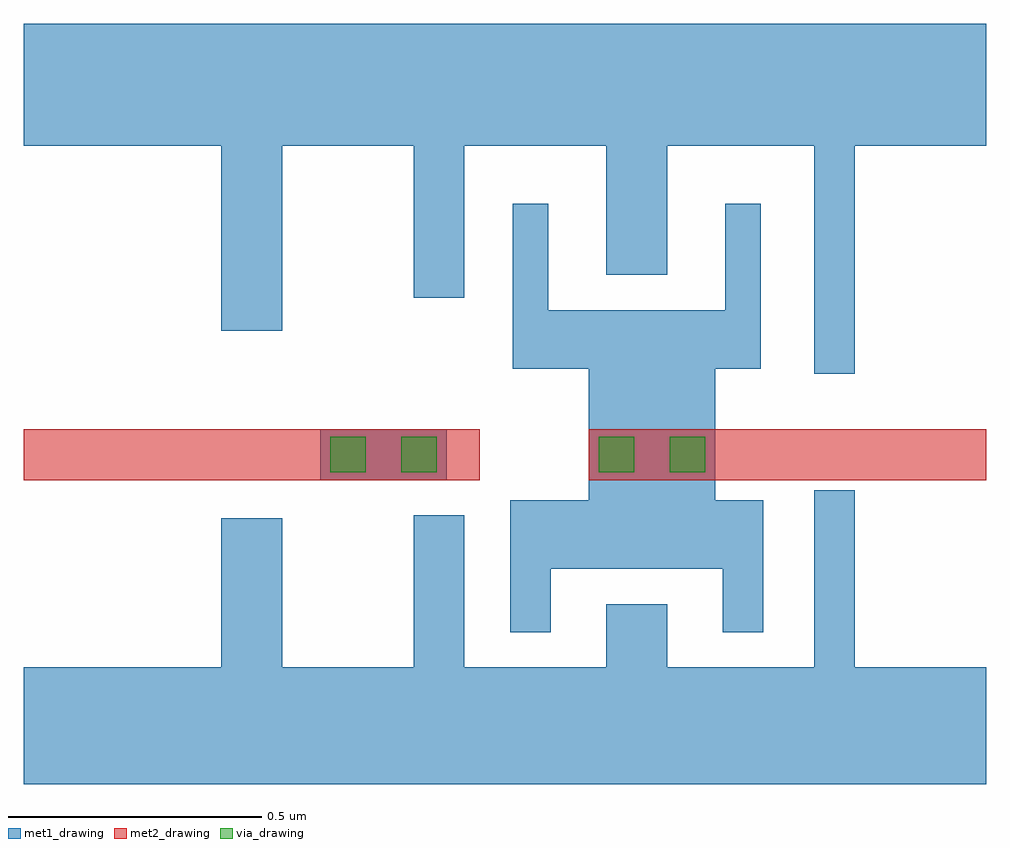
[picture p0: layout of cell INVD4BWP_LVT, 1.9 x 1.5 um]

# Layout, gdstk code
import gdstk
lib = gdstk.Library(unit=1e-6, precision=1e-09)
def R(c, l, rs):  # rectangles x0, y0, x1, y1
    for r in rs: c.add(gdstk.rectangle(r[:2], r[2:], *l))
def P(c, l, *ps):  # polygons
    for p in ps: c.add(gdstk.Polygon(p, *l))
met1_drawing = (31, 0)
met2_drawing = (32, 0)
via_drawing = (51, 0)

invd4bwp_lvt = lib.new_cell('INVD4BWP_LVT')
R(invd4bwp_lvt, met1_drawing, [(0.535,0.55,0.785,0.65)])
P(invd4bwp_lvt, met1_drawing, [(1.51,0.76),(1.51,1.21),(1.22,1.21),(1.22,0.955),(1.1,0.955),(1.1,1.21),(0.82,1.21),(0.82,0.91),(0.72,0.91),(0.72,1.21),(0.68,1.21),(0.68,1.45),(1.85,1.45),(1.85,1.21),(1.59,1.21),(1.59,0.76)],
  [(0.68,-0.05),(0.68,0.18),(0.72,0.18),(0.72,0.48),(0.82,0.48),(0.82,0.18),(1.1,0.18),(1.1,0.305),(1.22,0.305),(1.22,0.18),(1.51,0.18),(1.51,0.53),(1.59,0.53),(1.59,0.18),(1.85,0.18),(1.85,-0.05)],
  [(0.91,0.25),(0.91,0.51),(1.065,0.51),(1.065,0.77),(0.915,0.77),(0.915,1.095),(0.985,1.095),(0.985,0.885),(1.335,0.885),(1.335,1.095),(1.405,1.095),(1.405,0.77),(1.315,0.77),(1.315,0.51),(1.41,0.51),(1.41,0.25),(1.33,0.25),(1.33,0.375),(0.99,0.375),(0.99,0.25)],
  [(0.34,0.845),(0.34,1.21),(-0.05,1.21),(-0.05,1.45),(0.68,1.45),(0.68,1.21),(0.46,1.21),(0.46,0.845)],
  [(-0.05,-0.05),(-0.05,0.18),(0.34,0.18),(0.34,0.475),(0.46,0.475),(0.46,0.18),(0.68,0.18),(0.68,-0.05)])
R(invd4bwp_lvt, met2_drawing, [(-0.05,0.55,0.85,0.65), (1.065,0.55,1.85,0.65)])
R(invd4bwp_lvt, via_drawing, [(0.555,0.565,0.625,0.635), (0.695,0.565,0.765,0.635), (1.085,0.565,1.155,0.635), (1.225,0.565,1.295,0.635)])

lib.write_gds('INVD4BWP_LVT.gds')
